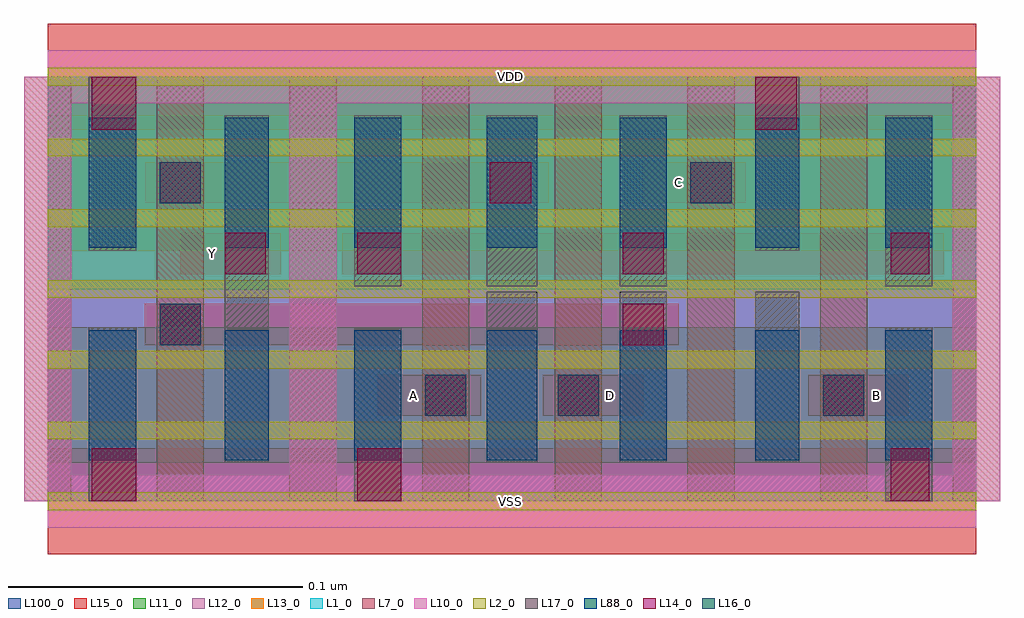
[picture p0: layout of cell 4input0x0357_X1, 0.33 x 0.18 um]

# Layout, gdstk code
import gdstk
lib = gdstk.Library(unit=1e-6, precision=1e-09)
def R(c, l, rs):  # rectangles x0, y0, x1, y1
    for r in rs: c.add(gdstk.rectangle(r[:2], r[2:], *l))
def A(c, l, x, y, w, h, nx, ny, dx, dy):  # array of equal rectangles
    R(c, l, [(x+i*dx, y+j*dy, x+i*dx+w, y+j*dy+h) for i in range(nx) for j in range(ny)])
def P(c, l, *ps):  # polygons
    for p in ps: c.add(gdstk.Polygon(p, *l))
L1_0 = (1, 0)
L2_0 = (2, 0)
L7_0 = (7, 0)
L10_0 = (10, 0)
L11_0 = (11, 0)
L12_0 = (12, 0)
L13_0 = (13, 0)
L14_0 = (14, 0)
L15_0 = (15, 0)
L16_0 = (16, 0)
L17_0 = (17, 0)
L88_0 = (88, 0)
L100_0 = (100, 0)

c_4input0x0357_x1 = lib.new_cell('4input0x0357_X1')
R(c_4input0x0357_x1, L1_0, [(0,0.072,0.315,0.144)])
A(c_4input0x0357_x1, L2_0, 0, -0.003, 0.315, 0.006, 1, 7, 0, 0.024)
A(c_4input0x0357_x1, L7_0, -0.008, 0, 0.016, 0.144, 8, 1, 0.045, 0)
P(c_4input0x0357_x1, L10_0, [(0,-0.009),(0,0),(-0.008,0),(-0.008,0.135),(0.008,0.135),(0.008,0.009),(0.082,0.009),(0.082,0.135),(0.098,0.135),(0.098,0.009),(0.307,0.009),(0.307,0.135),(-0.008,0.135),(-0.008,0.144),(0,0.144),(0,0.153),(0.315,0.153),(0.315,0.144),(0.323,0.144),(0.323,0),(0.315,0),(0.315,-0.009)])
R(c_4input0x0357_x1, L11_0, [(0,0.013,0.315,0.059), (0,0.085,0.315,0.131)])
R(c_4input0x0357_x1, L12_0, [(0,0,0.315,0.072)])
R(c_4input0x0357_x1, L13_0, [(0,0.072,0.315,0.144)])
R(c_4input0x0357_x1, L14_0, [(0.015,0,0.03,0.018), (0.105,0,0.12,0.018), (0.286,0,0.299,0.018), (0.128,0.029,0.142,0.043), (0.173,0.029,0.187,0.043), (0.263,0.029,0.277,0.043), (0.038,0.053,0.052,0.067), (0.195,0.053,0.209,0.067), (0.06,0.077,0.074,0.091), (0.105,0.077,0.12,0.091), (0.195,0.077,0.209,0.091), (0.286,0.077,0.299,0.091), (0.038,0.101,0.052,0.115), (0.15,0.101,0.164,0.115), (0.218,0.101,0.232,0.115), (0.015,0.126,0.03,0.144), (0.24,0.126,0.254,0.144)])
R(c_4input0x0357_x1, L15_0, [(0,-0.018,0.315,0.018), (0.112,0.029,0.147,0.043), (0.168,0.029,0.202,0.043), (0.258,0.029,0.292,0.043), (0.033,0.053,0.214,0.067), (0.045,0.077,0.079,0.091), (0.1,0.077,0.304,0.091), (0.033,0.101,0.17,0.115), (0.202,0.101,0.237,0.115), (0,0.126,0.315,0.162)])
R(c_4input0x0357_x1, L16_0, [(0.128,0.029,0.142,0.043), (0.173,0.029,0.187,0.043), (0.263,0.029,0.277,0.043), (0.038,0.053,0.052,0.067), (0.038,0.101,0.052,0.115), (0.218,0.101,0.232,0.115)])
A(c_4input0x0357_x1, L17_0, 0.104, 0.073, 0.016, 0.058, 3, 1, 0.09, 0)
R(c_4input0x0357_x1, L17_0, [(0.014,0,0.03,0.059), (0.104,0,0.12,0.059), (0.284,0,0.3,0.059), (0.06,0.013,0.075,0.131), (0.149,0.013,0.166,0.071), (0.194,0.013,0.21,0.071), (0.24,0.013,0.255,0.071), (0.149,0.073,0.166,0.131), (0.014,0.085,0.03,0.144), (0.24,0.085,0.255,0.144)])
A(c_4input0x0357_x1, L88_0, 0.014, 0.014, 0.016, 0.044, 4, 2, 0.09, 0.072)
R(c_4input0x0357_x1, L88_0, [(0.06,0.014,0.075,0.058), (0.149,0.014,0.166,0.058), (0.24,0.014,0.255,0.058), (0.06,0.086,0.075,0.13), (0.149,0.086,0.166,0.13), (0.24,0.086,0.255,0.13)])
R(c_4input0x0357_x1, L100_0, [(0,0,0.315,0.144)])
c_4input0x0357_x1.add(gdstk.Label('B', (0.281,0.036), layer=15, texttype=251))
c_4input0x0357_x1.add(gdstk.Label('VSS', (0.157,0), layer=15, texttype=251))
c_4input0x0357_x1.add(gdstk.Label('VDD', (0.157,0.144), layer=15, texttype=251))
c_4input0x0357_x1.add(gdstk.Label('A', (0.124,0.036), layer=15, texttype=251))
c_4input0x0357_x1.add(gdstk.Label('VSS', (0.157,0), layer=15, texttype=251))
c_4input0x0357_x1.add(gdstk.Label('VDD', (0.157,0.144), layer=15, texttype=251))
c_4input0x0357_x1.add(gdstk.Label('C', (0.214,0.108), layer=15, texttype=251))
c_4input0x0357_x1.add(gdstk.Label('VSS', (0.157,0), layer=15, texttype=251))
c_4input0x0357_x1.add(gdstk.Label('VDD', (0.157,0.144), layer=15, texttype=251))
c_4input0x0357_x1.add(gdstk.Label('Y', (0.056,0.084), layer=15, texttype=251))
c_4input0x0357_x1.add(gdstk.Label('VSS', (0.157,0), layer=15, texttype=251))
c_4input0x0357_x1.add(gdstk.Label('VDD', (0.157,0.144), layer=15, texttype=251))
c_4input0x0357_x1.add(gdstk.Label('D', (0.191,0.036), layer=15, texttype=251))
c_4input0x0357_x1.add(gdstk.Label('VSS', (0.157,0), layer=15, texttype=251))
c_4input0x0357_x1.add(gdstk.Label('VDD', (0.157,0.144), layer=15, texttype=251))
c_4input0x0357_x1.add(gdstk.Label('VSS', (0.157,0), layer=3, texttype=251))
c_4input0x0357_x1.add(gdstk.Label('VSS', (0.157,0), layer=3, texttype=251))
c_4input0x0357_x1.add(gdstk.Label('VSS', (0.157,0), layer=3, texttype=251))
c_4input0x0357_x1.add(gdstk.Label('VSS', (0.157,0), layer=3, texttype=251))
c_4input0x0357_x1.add(gdstk.Label('VSS', (0.157,0), layer=3, texttype=251))
c_4input0x0357_x1.add(gdstk.Label('VDD', (0.157,0.144), layer=1, texttype=251))
c_4input0x0357_x1.add(gdstk.Label('VDD', (0.157,0.144), layer=1, texttype=251))
c_4input0x0357_x1.add(gdstk.Label('VDD', (0.157,0.144), layer=1, texttype=251))
c_4input0x0357_x1.add(gdstk.Label('VDD', (0.157,0.144), layer=1, texttype=251))
c_4input0x0357_x1.add(gdstk.Label('VDD', (0.157,0.144), layer=1, texttype=251))

lib.write_gds('4input0x0357_X1.gds')
